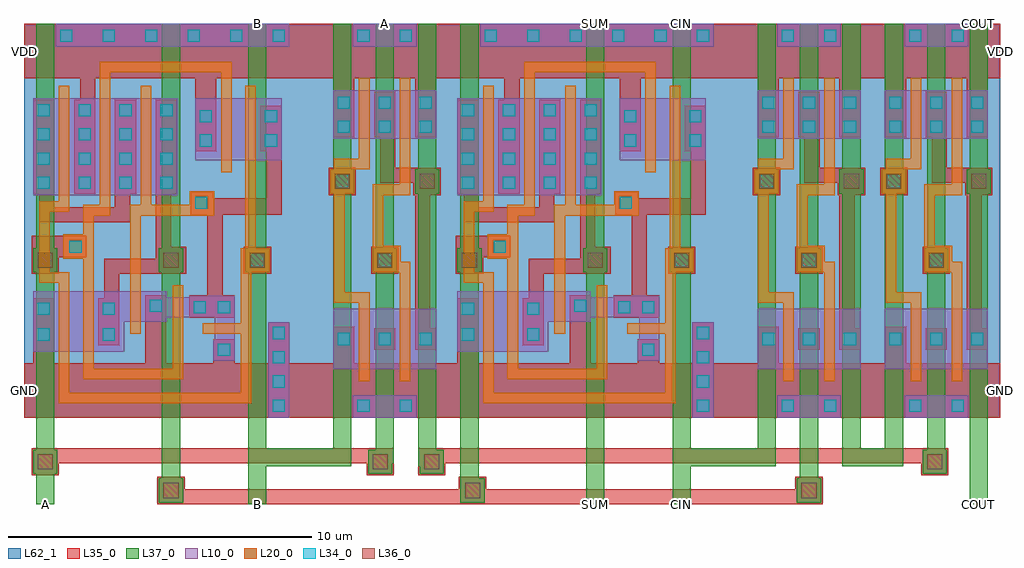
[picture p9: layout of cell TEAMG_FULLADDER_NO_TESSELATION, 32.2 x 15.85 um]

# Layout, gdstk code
import gdstk
lib = gdstk.Library(unit=1e-6, precision=1e-09)
def R(c, l, rs):  # rectangles x0, y0, x1, y1
    for r in rs: c.add(gdstk.rectangle(r[:2], r[2:], *l))
def A(c, l, x, y, w, h, nx, ny, dx, dy):  # array of equal rectangles
    R(c, l, [(x+i*dx, y+j*dy, x+i*dx+w, y+j*dy+h) for i in range(nx) for j in range(ny)])
def P(c, l, *ps):  # polygons
    for p in ps: c.add(gdstk.Polygon(p, *l))
L10_0 = (10, 0)
L20_0 = (20, 0)
L34_0 = (34, 0)
L35_0 = (35, 0)
L36_0 = (36, 0)
L37_0 = (37, 0)
L62_1 = (62, 1)

via1 = lib.new_cell('VIA1')
R(via1, L35_0, [(-0.45,-0.45,0.45,0.45)])
R(via1, L36_0, [(-0.25,-0.25,0.25,0.25)])
R(via1, L37_0, [(-0.4,-0.4,0.4,0.4)])

xor21_h = lib.new_cell('XOR21_H')
R(xor21_h, L10_0, [(8.05,0,8.75,3.15), (0.3,7.35,5.05,10.55), (5.65,8.5,8.5,10.55), (1.05,12.25,8.75,13)])
P(xor21_h, L10_0, [(6.95,4.025),(5.45,4.025),(5.45,3.975),(4.7,3.975),(4.7,4.175),(0.3,4.175),(0.3,2.175),(3.3,2.175),(3.3,3.175),(4.7,3.175),(4.7,3.325),(6.3,3.325),(6.3,2.575),(6.25,2.575),(6.25,1.875),(6.95,1.875)])
P(xor21_h, L20_0, [(6.85,11.75),(2.5,11.75),(2.5,7.025),(1.95,7.025),(1.95,6.05),(1.3,6.05),(1.3,5.25),(1.95,5.25),(1.95,1.275),(5.25,1.275),(5.25,4.375),(4.9,4.375),(4.9,1.625),(2.3,1.625),(2.3,6.675),(2.85,6.675),(2.85,11.4),(6.5,11.4),(6.5,8.1),(6.85,8.1)],
  [(8.1,5.6),(7.65,5.6),(7.65,10.95),(7.3,10.95),(7.3,5.6),(7.15,5.6),(7.15,3.125),(5.9,3.125),(5.9,2.775),(7.15,2.775),(7.15,0.825),(1.5,0.825),(1.5,4.8),(0.85,4.8),(0.85,6.8),(1.5,6.8),(1.5,10.95),(1.15,10.95),(1.15,7.15),(0.5,7.15),(0.5,4.45),(1.15,4.45),(1.15,0.475),(7.5,0.475),(7.5,4.8),(8.1,4.8)],
  [(6.275,7.475),(5.475,7.475),(5.475,7.025),(4.2,7.025),(4.2,10.95),(3.85,10.95),(3.85,7.025),(3.5,7.025),(3.5,2.775),(3.85,2.775),(3.85,6.675),(6.275,6.675)])
A(xor21_h, L34_0, 8.2, 0.2, 0.4, 0.4, 1, 4, 0, 0.8)
A(xor21_h, L34_0, 0.45, 7.55, 0.4, 0.4, 4, 4, 1.35, 0.8)
A(xor21_h, L34_0, 1.2, 12.4, 0.4, 0.4, 6, 1, 1.4, 0)
R(xor21_h, L34_0, [(6.4,2.05,6.8,2.45), (0.45,2.55,0.85,2.95), (2.6,2.55,3,2.95), (0.45,3.4,0.85,3.8), (2.6,3.4,3,3.8), (5.6,3.45,6,3.85), (6.4,3.45,6.8,3.85), (4.15,3.5,4.55,3.9), (7.5,5,7.9,5.4), (1.5,5.45,1.9,5.85), (5.65,6.9,6.05,7.3), (5.8,8.95,6.2,9.35), (7.95,8.95,8.35,9.35), (5.8,9.75,6.2,10.15), (7.95,9.75,8.35,10.15)])
R(xor21_h, L35_0, [(0.25,4.75,1.15,5.65), (4.4,4.75,5.3,5.65), (7.25,4.75,8.15,5.65), (7.25,4.75,8.15,5.65)])
P(xor21_h, L35_0, [(5.35,5.65),(4.85,5.65),(4.85,7.4),(5.05,7.4),(5.05,10.5),(4.35,10.5),(4.35,5.25),(2.65,5.25),(2.65,3.95),(2.45,3.95),(2.45,2.4),(3.15,2.4),(3.15,4.75),(5.35,4.75)],
  [(9.8,1.8),(8.75,1.8),(8.75,3.15),(8.05,3.15),(8.05,1.8),(6.95,1.8),(6.95,2.6),(6.25,2.6),(6.25,1.8),(4.7,1.8),(4.7,4.05),(4,4.05),(4,1.8),(1,1.8),(1,3.95),(0.3,3.95),(0.3,1.8),(0,1.8),(0,0),(9.8,0)],
  [(8.5,10.3),(7.8,10.3),(7.8,8.8),(8,8.8),(8,7.25),(6.25,7.25),(6.25,7.45),(5.5,7.45),(5.5,6.7),(6.05,6.7),(6.05,4.05),(5.45,4.05),(5.45,3.3),(6.95,3.3),(6.95,4.05),(6.55,4.05),(6.55,6.7),(8.5,6.7)],
  [(9.8,13),(0,13),(0,11.2),(1.85,11.2),(1.85,10.5),(1.65,10.5),(1.65,7.4),(2.35,7.4),(2.35,11.2),(5.65,11.2),(5.65,8.8),(6.35,8.8),(6.35,11.2),(9.8,11.2)],
  [(3.7,10.5),(3,10.5),(3,6.95),(1,6.95),(1,10.5),(0.3,10.5),(0.3,7.4),(0.5,7.4),(0.5,6.45),(3.5,6.45),(3.5,7.4),(3.7,7.4)],
  [(2.05,6),(0.25,6),(0.25,4.75),(1.15,4.75),(1.15,5.3),(2.05,5.3)])
R(xor21_h, L36_0, [(0.45,4.95,0.95,5.45), (4.6,4.95,5.1,5.45), (7.45,4.95,7.95,5.45)])
R(xor21_h, L37_0, [(0.4,0,1,13), (4.55,0,5.15,13), (7.4,0,8,13), (0.3,4.8,1.1,5.6), (4.45,4.8,5.25,5.6), (7.3,4.8,8.1,5.6)])
R(xor21_h, L62_1, [(0,0,9.8,13)])
xor21_h.add(gdstk.Label('XOR21', (4.9,9.5), layer=61, texttype=2))
xor21_h.add(gdstk.Label('A', (0.7,13), layer=37, texttype=0))
xor21_h.add(gdstk.Label('Q', (4.85,13), layer=37, texttype=0))
xor21_h.add(gdstk.Label('B', (7.7,13), layer=37, texttype=0))
xor21_h.add(gdstk.Label('GND', (9.8,0.9), layer=35, texttype=0))
xor21_h.add(gdstk.Label('GND', (0,0.9), layer=35, texttype=0))
xor21_h.add(gdstk.Label('VDD', (9.8,12.1), layer=35, texttype=0))
xor21_h.add(gdstk.Label('VDD', (0,12.1), layer=35, texttype=0))
xor21_h.add(gdstk.Label('A', (0.7,0), layer=37, texttype=0))
xor21_h.add(gdstk.Label('Q', (4.85,0), layer=37, texttype=0))
xor21_h.add(gdstk.Label('B', (7.7,0), layer=37, texttype=0))

nand21_h = lib.new_cell('NAND21_H')
R(nand21_h, L10_0, [(1.05,0,3.15,0.75), (0.4,1.6,3.8,3.6), (0.4,9.2,3.8,10.8), (1.05,12.25,3.15,13)])
P(nand21_h, L20_0, [(2.95,5.15),(2.625,5.15),(2.625,5.675),(2.05,5.675),(2.05,7.35),(2.95,7.35),(2.95,11.2),(2.6,11.2),(2.6,7.7),(1.7,7.7),(1.7,4.8),(2.6,4.8),(2.6,1.2),(2.95,1.2)],
  [(1.6,4.15),(0.775,4.15),(0.775,7.4),(1.1,7.4),(1.1,8.2),(1.6,8.2),(1.6,11.2),(1.25,11.2),(1.25,8.55),(0.425,8.55),(0.425,8.2),(0.3,8.2),(0.3,7.4),(0.425,7.4),(0.425,3.8),(1.25,3.8),(1.25,1.2),(1.6,1.2)])
A(nand21_h, L34_0, 0.55, 2.4, 0.4, 0.4, 3, 2, 1.35, 7)
A(nand21_h, L34_0, 0.55, 10.2, 0.4, 0.4, 3, 1, 1.35, 0)
R(nand21_h, L34_0, [(1.2,0.2,1.6,0.6), (2.6,0.2,3,0.6), (1.9,5,2.3,5.4), (0.5,7.6,0.9,8), (1.2,12.4,1.6,12.8), (2.6,12.4,3,12.8)])
R(nand21_h, L35_0, [(1.75,2.25,2.45,2.95), (1.65,4.75,2.55,5.65), (1.65,4.75,2.55,5.65), (0.25,7.35,1.15,8.25), (0.25,7.35,1.15,8.25), (3.05,7.35,3.95,8.25)])
P(nand21_h, L35_0, [(4.2,1.8),(1.1,1.8),(1.1,3),(0.4,3),(0.4,1.8),(0,1.8),(0,0),(4.2,0)],
  [(4.2,13),(0,13),(0,11.2),(0.4,11.2),(0.4,9.25),(1.1,9.25),(1.1,11.2),(3.1,11.2),(3.1,9.25),(3.8,9.25),(3.8,11.2),(4.2,11.2)],
  [(3.95,8.25),(2.45,8.25),(2.45,10.75),(1.75,10.75),(1.75,9.25),(1.95,9.25),(1.95,7.75),(3.05,7.75),(3.05,7.35),(3.1,7.35),(3.1,2.25),(3.8,2.25),(3.8,2.95),(3.6,2.95),(3.6,7.35),(3.95,7.35)])
R(nand21_h, L36_0, [(1.85,4.95,2.35,5.45), (0.45,7.55,0.95,8.05), (3.25,7.55,3.75,8.05)])
A(nand21_h, L37_0, 0.4, 0, 0.6, 13, 3, 1, 1.4, 0)
R(nand21_h, L37_0, [(1.7,4.8,2.5,5.6), (0.3,7.4,1.1,8.2), (3.1,7.4,3.9,8.2)])
R(nand21_h, L62_1, [(0,0,4.2,13)])
nand21_h.add(gdstk.Label('NAND21', (2.1,9.5), layer=61, texttype=2))
nand21_h.add(gdstk.Label('B', (0.7,13), layer=37, texttype=0))
nand21_h.add(gdstk.Label('Q', (3.5,13), layer=37, texttype=0))
nand21_h.add(gdstk.Label('A', (2.1,13), layer=37, texttype=0))
nand21_h.add(gdstk.Label('GND', (4.2,0.9), layer=35, texttype=0))
nand21_h.add(gdstk.Label('GND', (0,0.9), layer=35, texttype=0))
nand21_h.add(gdstk.Label('VDD', (4.2,12.1), layer=35, texttype=0))
nand21_h.add(gdstk.Label('VDD', (0,12.1), layer=35, texttype=0))
nand21_h.add(gdstk.Label('B', (0.7,0), layer=37, texttype=0))
nand21_h.add(gdstk.Label('Q', (3.5,0), layer=37, texttype=0))
nand21_h.add(gdstk.Label('A', (2.1,0), layer=37, texttype=0))

teamg_fulladder_no_tesse = lib.new_cell('TEAMG_FULLADDER_NO_TESSELATION')
teamg_fulladder_no_tesse.add(gdstk.FlexPath([(2.5,3.9),(-8.95,3.9)], 0.5, ends="flush", simple_path=True, layer=35, datatype=0))  # L35_0
teamg_fulladder_no_tesse.add(gdstk.FlexPath([(-8.9,3.9),(-18.7,3.9)], 0.5, ends="flush", simple_path=True, layer=35, datatype=0))  # L35_0
teamg_fulladder_no_tesse.add(gdstk.FlexPath([(-23.05,5.25),(-12.1,5.25)], 0.5, ends="flush", simple_path=True, layer=35, datatype=0))  # L35_0
teamg_fulladder_no_tesse.add(gdstk.FlexPath([(6.65,5.25),(-10.25,5.25)], 0.5, ends="flush", simple_path=True, layer=35, datatype=0))  # L35_0
teamg_fulladder_no_tesse.add(gdstk.FlexPath([(-16,5.2),(-13.1,5.2),(-13.1,6.5)], 0.6, ends="flush", simple_path=True, layer=37, datatype=0))  # L37_0
teamg_fulladder_no_tesse.add(gdstk.FlexPath([(-22.9,3.65),(-22.9,4.7)], 0.6, ends="flush", simple_path=True, layer=37, datatype=0))  # L37_0
teamg_fulladder_no_tesse.add(gdstk.FlexPath([(7.9,3.65),(7.9,6.5)], 0.6, ends="flush", simple_path=True, layer=37, datatype=0))  # L37_0
teamg_fulladder_no_tesse.add(gdstk.FlexPath([(-1.9,3.65),(-1.9,5.35)], 0.6, ends="flush", simple_path=True, layer=37, datatype=0))  # L37_0
teamg_fulladder_no_tesse.add(gdstk.FlexPath([(-4.75,3.65),(-4.75,6.5)], 0.6, ends="flush", simple_path=True, layer=37, datatype=0))  # L37_0
teamg_fulladder_no_tesse.add(gdstk.FlexPath([(-15.9,3.65),(-15.9,6.5)], 0.6, ends="flush", simple_path=True, layer=37, datatype=0))  # L37_0
teamg_fulladder_no_tesse.add(gdstk.FlexPath([(2.3,4.2),(2.3,6.5)], 0.6, ends="flush", simple_path=True, layer=37, datatype=0))  # L37_0
teamg_fulladder_no_tesse.add(gdstk.FlexPath([(-8.9,4.1),(-8.9,6.5)], 0.6, ends="flush", simple_path=True, layer=37, datatype=0))  # L37_0
teamg_fulladder_no_tesse.add(gdstk.FlexPath([(-18.75,4.25),(-18.75,6.5)], 0.6, ends="flush", simple_path=True, layer=37, datatype=0))  # L37_0
teamg_fulladder_no_tesse.add(gdstk.FlexPath([(-22.9,5.1),(-22.9,6.5)], 0.6, ends="flush", simple_path=True, layer=37, datatype=0))  # L37_0
teamg_fulladder_no_tesse.add(gdstk.FlexPath([(-11.7,5),(-11.7,6.5)], 0.6, ends="flush", simple_path=True, layer=37, datatype=0))  # L37_0
teamg_fulladder_no_tesse.add(gdstk.FlexPath([(-10.3,4.9),(-10.3,6.5)], 0.6, ends="flush", simple_path=True, layer=37, datatype=0))  # L37_0
teamg_fulladder_no_tesse.add(gdstk.FlexPath([(5.1,6.5),(5.1,5.2),(3.7,5.2),(3.7,6.5)], 0.6, ends="flush", simple_path=True, layer=37, datatype=0))  # L37_0
teamg_fulladder_no_tesse.add(gdstk.FlexPath([(0.9,6.5),(0.9,5.2),(-1.9,5.2),(-1.9,6.5)], 0.6, ends="flush", simple_path=True, layer=37, datatype=0))  # L37_0
teamg_fulladder_no_tesse.add(gdstk.FlexPath([(6.5,5),(6.5,6.5)], 0.6, ends="flush", simple_path=True, layer=37, datatype=0))  # L37_0
teamg_fulladder_no_tesse.add(gdstk.Reference(via1, (-22.9,5.05)))
teamg_fulladder_no_tesse.add(gdstk.Reference(xor21_h, (-23.6,6.5)))
teamg_fulladder_no_tesse.add(gdstk.Reference(via1, (2.3,4.1)))
teamg_fulladder_no_tesse.add(gdstk.Reference(via1, (-8.8,4.1)))
teamg_fulladder_no_tesse.add(gdstk.Reference(via1, (-18.75,4.1)))
teamg_fulladder_no_tesse.add(gdstk.Reference(via1, (-11.85,5.05)))
teamg_fulladder_no_tesse.add(gdstk.Reference(via1, (-10.15,5.05)))
teamg_fulladder_no_tesse.add(gdstk.Reference(via1, (6.45,5.05)))
teamg_fulladder_no_tesse.add(gdstk.Reference(nand21_h, (4.4,6.5)))
teamg_fulladder_no_tesse.add(gdstk.Reference(nand21_h, (0.2,6.5)))
teamg_fulladder_no_tesse.add(gdstk.Reference(xor21_h, (-9.6,6.5)))
teamg_fulladder_no_tesse.add(gdstk.Reference(nand21_h, (-13.8,6.5)))
teamg_fulladder_no_tesse.add(gdstk.Label('VDD', (-23.6,18.6), layer=37, texttype=0))
teamg_fulladder_no_tesse.add(gdstk.Label('GND', (-23.6,7.4), layer=37, texttype=0))
teamg_fulladder_no_tesse.add(gdstk.Label('VDD', (8.6,18.6), layer=37, texttype=0))
teamg_fulladder_no_tesse.add(gdstk.Label('COUT', (7.9,19.5), layer=37, texttype=0))
teamg_fulladder_no_tesse.add(gdstk.Label('CIN', (-1.9,19.5), layer=37, texttype=0))
teamg_fulladder_no_tesse.add(gdstk.Label('SUM', (-4.75,19.5), layer=37, texttype=0))
teamg_fulladder_no_tesse.add(gdstk.Label('A', (-11.7,19.5), layer=37, texttype=0))
teamg_fulladder_no_tesse.add(gdstk.Label('B', (-15.9,19.5), layer=37, texttype=0))
teamg_fulladder_no_tesse.add(gdstk.Label('A', (-22.9,3.65), layer=35, texttype=0))
teamg_fulladder_no_tesse.add(gdstk.Label('COUT', (7.9,3.65), layer=37, texttype=0))
teamg_fulladder_no_tesse.add(gdstk.Label('CIN', (-1.9,3.65), layer=37, texttype=0))
teamg_fulladder_no_tesse.add(gdstk.Label('SUM', (-4.75,3.65), layer=37, texttype=0))
teamg_fulladder_no_tesse.add(gdstk.Label('B', (-15.9,3.65), layer=37, texttype=0))
teamg_fulladder_no_tesse.add(gdstk.Label('GND', (8.6,7.4), layer=37, texttype=0))

lib.write_gds('TEAMG_FULLADDER_NO_TESSELATION.gds')
